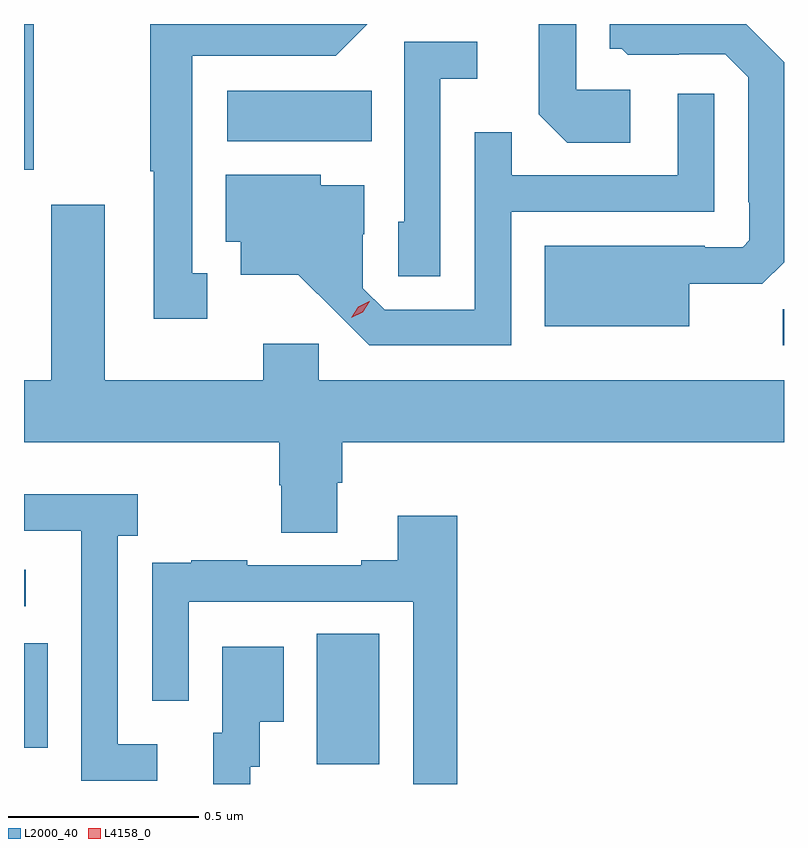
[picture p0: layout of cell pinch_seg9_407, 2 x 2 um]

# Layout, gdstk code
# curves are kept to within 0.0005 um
import gdstk
lib = gdstk.Library(unit=1e-6, precision=1e-09)
def R(c, l, rs):  # rectangles x0, y0, x1, y1
    for r in rs: c.add(gdstk.rectangle(r[:2], r[2:], *l))
def P(c, l, *ps):  # polygons
    for p in ps: c.add(gdstk.Polygon(p, *l))
L2000_40 = (2000, 40)
L4158_0 = (4158, 0)

pinch_seg9_407 = lib.new_cell('pinch_seg9_407')
R(pinch_seg9_407, L2000_40, [(337.856,1243.525,338.02,1243.868), (337.085,1243.569,337.147,1243.843), (337.085,1243.941,337.09,1244.037), (339.082,1244.628,339.085,1244.723), (337.085,1245.09,337.111,1245.473), (337.62,1245.164,338,1245.298)])
P(pinch_seg9_407, L2000_40, [(337.567,1244.817),(337.528,1244.817),(337.528,1245.39),(337.905,1245.39),(337.988,1245.473),(337.417,1245.473),(337.417,1245.085),(337.427,1245.085),(337.427,1244.697),(337.567,1244.697)],
  [(338.68,1245.3),(338.538,1245.3),(338.538,1245.473),(338.439,1245.473),(338.439,1245.236),(338.515,1245.16),(338.68,1245.16)],
  [(338.836,1244.789),(339.028,1244.789),(339.085,1244.846),(339.085,1245.372),(338.985,1245.473),(338.627,1245.473),(338.627,1245.408),(338.658,1245.408),(338.674,1245.392),(338.808,1245.392),(338.808,1245.393),(338.931,1245.393),(338.991,1245.333),(338.991,1245.004),(338.994,1245.004),(338.994,1244.904),(338.976,1244.886),(338.876,1244.886),(338.876,1244.89),(338.456,1244.89),(338.456,1244.678),(338.836,1244.678)],
  [(338.181,1245.329),(338.278,1245.329),(338.278,1245.426),(338.085,1245.426),(338.085,1244.952),(338.07,1244.952),(338.07,1244.809),(338.181,1244.809)],
  [(338.367,1244.979),(338.901,1244.979),(338.901,1245.289),(338.805,1245.289),(338.805,1245.075),(338.369,1245.075),(338.369,1245.188),(338.271,1245.188),(338.271,1244.721),(338.034,1244.721),(337.977,1244.778),(337.977,1244.92),(337.981,1244.92),(337.981,1245.049),(337.866,1245.049),(337.866,1245.076),(337.616,1245.076),(337.616,1244.9),(337.655,1244.9),(337.655,1244.813),(337.807,1244.813),(337.994,1244.628),(338.367,1244.628)],
  [(337.909,1244.266),(337.922,1244.266),(337.922,1244.372),(339.085,1244.372),(339.085,1244.536),(337.86,1244.536),(337.86,1244.632),(337.714,1244.632),(337.714,1244.536),(337.297,1244.536),(337.297,1244.998),(337.157,1244.998),(337.157,1244.536),(337.085,1244.536),(337.085,1244.372),(337.757,1244.372),(337.757,1244.259),(337.762,1244.259),(337.762,1244.134),(337.909,1244.134)],
  [(337.435,1243.578),(337.332,1243.578),(337.332,1244.126),(337.384,1244.126),(337.384,1244.236),(337.085,1244.236),(337.085,1244.139),(337.235,1244.139),(337.235,1243.939),(337.236,1243.939),(337.236,1243.482),(337.435,1243.482)],
  [(338.225,1244.179),(338.069,1244.179),(338.069,1244.062),(337.973,1244.062),(337.973,1244.049),(337.673,1244.049),(337.673,1244.062),(337.525,1244.062),(337.525,1244.055),(337.423,1244.055),(337.423,1243.946),(337.422,1243.946),(337.422,1243.692),(337.518,1243.692),(337.518,1243.953),(338.109,1243.953),(338.109,1243.473),(338.225,1243.473)],
  [(337.68,1243.518),(337.705,1243.518),(337.705,1243.637),(337.768,1243.637),(337.768,1243.834),(337.607,1243.834),(337.607,1243.608),(337.583,1243.608),(337.583,1243.473),(337.68,1243.473)])
P(pinch_seg9_407, L4158_0, [(337.946,1244.7),(337.946,1244.7),(337.964,1244.729),(337.994,1244.743),(337.995,1244.743),(337.995,1244.743),(337.977,1244.714),(337.946,1244.7)])

lib.write_gds('pinch_seg9_407.gds')
